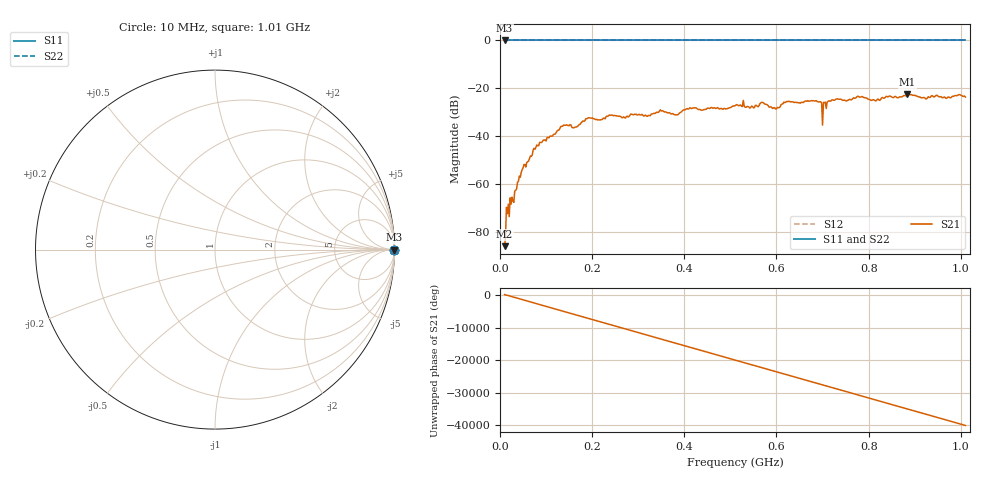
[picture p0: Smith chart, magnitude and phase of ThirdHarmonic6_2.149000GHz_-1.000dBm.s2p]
! 8/17/2025 1:39:55 AM
! C:\ANRITSUVNA\TEMP\TEMP.S2P
! CHANNEL.1
! TR.MEASUREMENT
! RAW.DATA
! RF.CORRECTION.OFF
! AVERAGING.OFF
! IF.BANDWIDTH: 5KHZ
! SWEEPTYPE:  FREQ.SWEEP(Linear)
! Reference Plane Port Info
! PORT:  PORT1  PORT2
! DISTANCE:  0  m  0  m
! TIME:  0  s  0  s
! PHASE.OFFSET:  0  deg.  0  deg.
! LOSS:  0  dB  0  dB
! REF.LOSS:  0  dB  0  dB
! REF.FREQ:  0  Hz  0  Hz
! Power Info
! POWER:  -20  dBm  -20  dBm
! EFF.POWER:  -20  dBm  -20  dBm
! SOURCE.ATTEN:  0  dB  0  dB
! TEST.ATTEN:  0  dB  0  dB
# GHZ S RI R 50.0
! FREQ.GHZ  S11RE  S11IM  S21RE  S21IM  S12RE  S12IM  S22RE  S22IM
!; PortSelection: Port_12
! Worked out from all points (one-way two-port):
!   501 points, 10 MHz to 1.01 GHz, reference 50 ohm
!   highest |S21| = -22.50 dB at 884 MHz (marker M1); lowest = -85.7 dB at 10 MHz (marker M2)
!   lowest |S11| = 0.0 dB at 10 MHz (marker M3)
!   |S11| at or under -10 dB: nowhere
!   |S22| runs from 0.0 to 0.0 dB; largest |S21 - S12| = 1.1
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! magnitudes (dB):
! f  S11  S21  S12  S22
! 10 MHz  0.0  -85.7  0.0  0.0
! 18 MHz  0.0  -68.2  0.0  0.0
! 32 MHz  0.0  -62.7  0.0  0.0
! 50 MHz  0.0  -53.1  0.0  0.0
! 76 MHz  0.0  -45.4  0.0  0.0
! 136 MHz  0.0  -35.7  0.0  0.0
! 162 MHz  0.0  -36.2  0.0  0.0
! 178 MHz  0.0  -34.0  0.0  0.0
! 344 MHz  0.0  -29.9  0.0  0.0
! 382 MHz  0.0  -30.9  0.0  0.0
! 410 MHz  0.0  -28.5  0.0  0.0
! 510 MHz  0.0  -27.2  0.0  0.0
! 570 MHz  0.0  -25.8  0.0  0.0
! 596 MHz  0.0  -28.0  0.0  0.0
! 624 MHz  0.0  -25.5  0.0  0.0
! 678 MHz  0.0  -25.1  0.0  0.0
! 704 MHz  0.0  -25.8  0.0  0.0
! 706 MHz  0.0  -25.7  0.0  0.0
! 732 MHz  0.0  -24.3  0.0  0.0
! 844 MHz  0.0  -23.3  0.0  0.0
! 884 MHz  0.0  -22.5  0.0  0.0
! 1.01 GHz  0.0  -23.6  0.0  0.0
